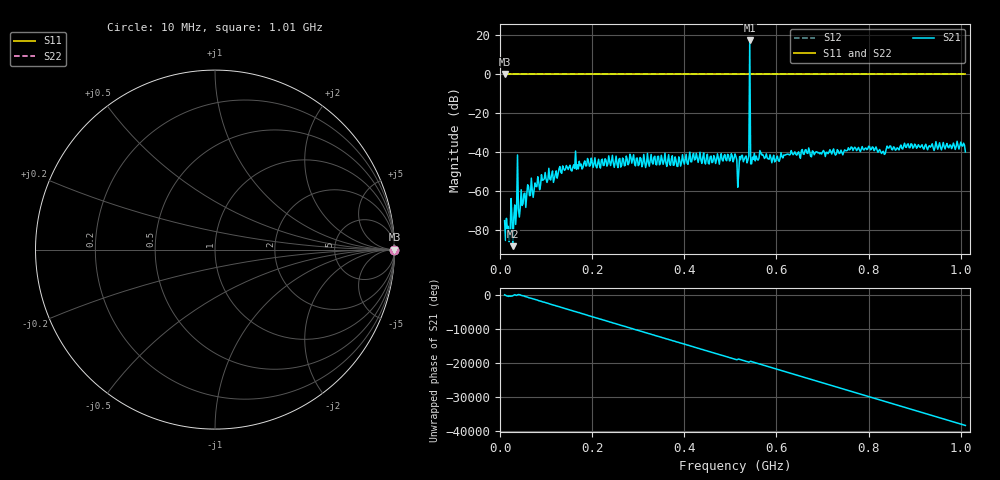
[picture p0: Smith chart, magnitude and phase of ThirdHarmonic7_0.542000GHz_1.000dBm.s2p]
! 8/17/2025 4:18:38 PM
! C:\ANRITSUVNA\TEMP\TEMP.S2P
! CHANNEL.1
! TR.MEASUREMENT
! RAW.DATA
! RF.CORRECTION.OFF
! AVERAGING.OFF
! IF.BANDWIDTH: 5KHZ
! SWEEPTYPE:  FREQ.SWEEP(Linear)
! Reference Plane Port Info
! PORT:  PORT1  PORT2
! DISTANCE:  0  m  0  m
! TIME:  0  s  0  s
! PHASE.OFFSET:  0  deg.  0  deg.
! LOSS:  0  dB  0  dB
! REF.LOSS:  0  dB  0  dB
! REF.FREQ:  0  Hz  0  Hz
! Power Info
! POWER:  -20  dBm  -20  dBm
! EFF.POWER:  -20  dBm  -20  dBm
! SOURCE.ATTEN:  0  dB  0  dB
! TEST.ATTEN:  0  dB  0  dB
# GHZ S RI R 50.0
! FREQ.GHZ  S11RE  S11IM  S21RE  S21IM  S12RE  S12IM  S22RE  S22IM
!; PortSelection: Port_12
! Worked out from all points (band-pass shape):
!   501 points, 10 MHz to 1.01 GHz, reference 50 ohm
!   highest |S21| = 17.17 dB at 542 MHz (marker M1); lowest = -88.4 dB at 28 MHz (marker M2)
!   |S21| within 3 dB of the highest: 541.8986 MHz to 542.0947 MHz (196.1 kHz wide, 0.0362 % of centre)
!   lowest |S11| = 0.0 dB at 10 MHz (marker M3)
!   |S11| at or under -10 dB: nowhere
!   |S22| runs from 0.0 to 0.0 dB; largest |S21 - S12| = 8.2
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0.01  1 0  6.17e-05 -0.000159  1 0  1 0
0.018  1 0  -0.00012 2.39e-05  1 0  1 0
0.028  1 0  2.37e-05 2.95e-05  1 0  1 0
0.032  1 0  0.000297 -0.000316  1 0  1 0
0.034  1 0  -9.69e-05 -9.66e-05  1 0  1 0
0.042  1 0  0.000192 -8.97e-05  1 0  1 0
0.044  1 0  3.13e-05 -0.000368  1 0  1 0
0.064  1 0  -0.000407 0.000631  1 0  1 0
0.094  1 0  0.00155 -0.00109  1 0  1 0
0.178  1 0  -0.0035 -0.00092  1 0  1 0
0.344  1 0  0.00703 -0.00312  1 0  1 0
0.51  1 0  -0.00875 -0.00112  1 0  1 0
0.518  1 0  -0.000776 -0.0027  1 0  1 0
0.524  1 0  0.00795 -0.000934  1 0  1 0
0.536  1 0  -0.00425 -0.00298  1 0  1 0
0.538  1 0  -0.00569 0.0022  1 0  1 0
0.542  1 0  -7.167 0.8549  1 0  1 0
0.546  1 0  -0.00472 -0.00139  1 0  1 0
0.548  1 0  -0.0026 0.00683  1 0  1 0
0.678  1 0  0.00616 -0.0086  1 0  1 0
0.844  1 0  -0.00698 0.0104  1 0  1 0
1.01  1 0  0.000937 -0.00991  1 0  1 0
